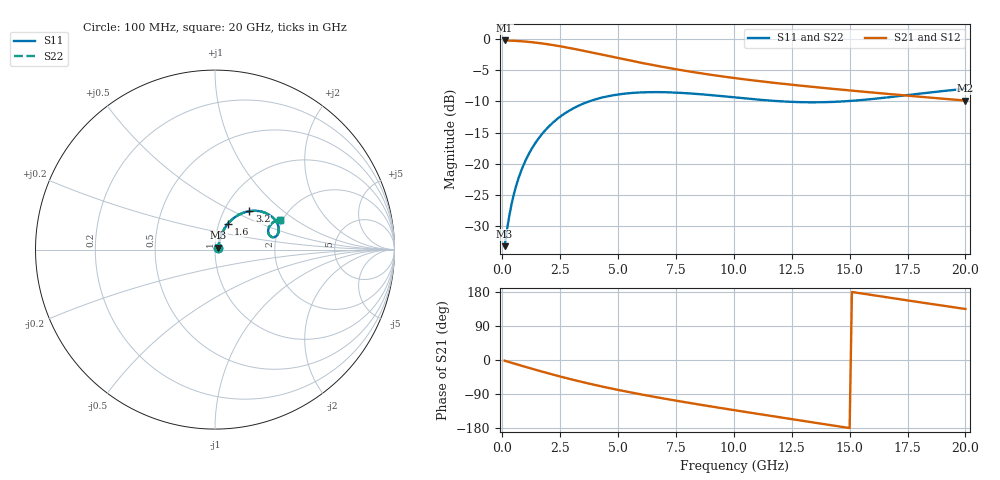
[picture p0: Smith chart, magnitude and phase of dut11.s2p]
! Touchstone file exported from HFSS 2024.1.0
!  File:  C:/UserFiles/LocalFiles/RDL_TSV_Batchsim/temp_RDL_TSV_11_1779397562.aedt
!  Generated:  05:24:17 AM May 22, 2026
!  Design:  RDL_TSV
!  Project:  temp_RDL_TSV_11_1779397562
!  Setup:  Setup1
!  Solution:  Sweep
! Variables:
!  dtsv = 5.19um
!  hbump = 3um
!  htsv = 78.64um
!  ldown = 500.16um
!  lrdl = 456.09um
!  p = 40
!  p1 = 53.11um
!  rhole = 10um
!  subl = 3324.84um
!  t = 450um
!  tdown = 4.34um
!  trdl = 4.79um
!  viad = 10um
!  wdown = 15.66um
!  wrdl = 15.41um
!  xbump = 18um
# GHz S MA R 50.000000
! Terminal data exported
! Port[1] = TM1_1_T1
! Port[2] = TM1_4_T1
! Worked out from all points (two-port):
!   200 points, 100 MHz to 20 GHz, reference 50 ohm
!   highest |S21| = -0.16 dB at 100 MHz (marker M1); lowest = -9.9 dB at 20 GHz (marker M2)
!   |S21| within 3 dB of the highest: start of sweep to 5.21 GHz
!   lowest |S11| = -33.3 dB at 100 MHz (marker M3), VSWR 1.04, Z = 51.9 + j1.11 ohm
!   |S11| at or under -10 dB: start of sweep to 3.741 GHz; 12.17 GHz to 14.65 GHz (2.483 GHz wide, 18.5 % of centre)
!   |S22| runs from -33.3 to -7.9 dB; largest |S21 - S12| = 4.9e-14
!   S11 on the Smith chart (normalised r, x): 100 MHz: 1.04, +0.02; 1.6 GHz: 1.11, +0.33; 3.2 GHz: 1.31, +0.61; 20 GHz: 1.95, +0.77
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0.1  0.02159 29.7  0.9813 -1.9  0.9813 -1.9  0.02159 29.7
! Gamma 0 0 0 0
! Port Impedance 50 0 50 0
0.3  0.03778 55.4  0.9788 -5.5  0.9788 -5.5  0.03778 55.4
0.4  0.04708 60.3  0.9772 -7.4  0.9772 -7.4  0.04708 60.3
0.5  0.05662 63.2  0.9752 -9.2  0.9752 -9.2  0.05662 63.2
0.7  0.07603 66.0  0.9705 -12.8  0.9705 -12.8  0.07603 66.0
1.1  0.1151 66.4  0.9575 -19.9  0.9575 -19.9  0.1151 66.4
1.6  0.1624 63.4  0.9348 -28.6  0.9348 -28.6  0.1624 63.4
2.4  0.2309 56.1  0.8874 -42.0  0.8874 -42.0  0.2309 56.1
3.2  0.2868 48.2  0.8322 -54.4  0.8322 -54.4  0.2868 48.2
3.5  0.304 45.3  0.8108 -58.8  0.8108 -58.8  0.304 45.3
4.2  0.3361 38.8  0.7613 -68.6  0.7613 -68.6  0.3361 38.9
5.1  0.3622 31.5  0.7016 -80.2  0.7016 -80.2  0.3622 31.5
5.9  0.3736 25.9  0.6539 -89.7  0.6539 -89.7  0.3736 25.9
6.8  0.3762 20.8  0.607 -99.8  0.607 -99.8  0.3763 20.8
8.4  0.3639 14.5  0.5399 -116.5  0.5399 -116.5  0.3641 14.6
10.1  0.3403 11.9  0.4865 -133.2  0.4865 -133.2  0.3406 11.9
11.7  0.3203 13.0  0.4479 -148.5  0.4479 -148.5  0.3206 13.0
13.4  0.3114 16.9  0.4148 -164.5  0.4148 -164.5  0.3118 16.9
15  0.3193 21.2  0.3883 -179.6  0.3883 -179.6  0.3197 21.2
16.7  0.3422 24.4  0.3633 164.6  0.3633 164.6  0.3425 24.3
18.4  0.3724 25.3  0.3408 149.0  0.3408 149.0  0.3727 25.3
20  0.4004 24.5  0.3217 134.6  0.3217 134.6  0.4005 24.4
